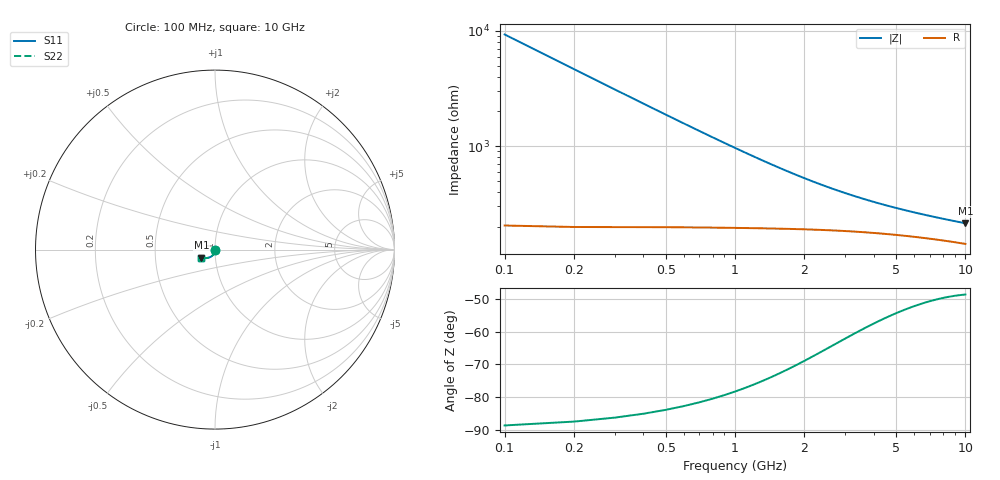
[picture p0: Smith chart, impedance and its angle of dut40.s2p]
! Touchstone file exported from HFSS 2024.1.0
!  File:  C:/UserFiles/LocalFiles/RDL_TSV_Batchsim/temp_TSV1_40_1779371023.aedt
!  Generated:  09:49:20 PM May 21, 2026
!  Design:  TSV1
!  Project:  temp_TSV1_40_1779371023
!  Setup:  Setup1
!  Solution:  Sweep
! Variables:
!  dtsv = 14.34um
!  hbump = 3um
!  htsv = 97.87um
!  lrdl = 252.1521522um
!  p = 40
!  p1 = 42.24um
!  t = 500um
!  trdl = 3um
!  wrdl = 24.89489489um
# GHz S MA R 50.000000
! Terminal data exported
! Port[1] = TSV22_T1
! Port[2] = TSV22_T2
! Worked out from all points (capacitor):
!   100 points, 100 MHz to 10 GHz, reference 50 ohm
!   read as one part in shunt: C = 171 fF near 100 MHz
!   lowest |Z| = 214 ohm at 10 GHz (marker M1)
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0.1  0.002315 -89.1  0.9998 -0.2  0.9998 -0.2  0.002315 -89.1
! Gamma 0 0 0 0
! Port Impedance 50 0 50 0
0.2  0.004631 -91.6  0.9996 -0.3  0.9996 -0.3  0.004631 -91.6
0.3  0.006947 -93.4  0.9993 -0.5  0.9993 -0.5  0.006947 -93.4
0.4  0.009252 -95.1  0.9989 -0.7  0.9989 -0.7  0.009252 -95.1
0.5  0.01154 -96.7  0.9983 -0.9  0.9983 -0.9  0.01154 -96.7
0.6  0.01379 -98.3  0.9977 -1.0  0.9977 -1.0  0.01379 -98.3
0.7  0.01602 -99.8  0.9969 -1.2  0.9969 -1.2  0.01602 -99.8
0.8  0.0182 -101.3  0.9961 -1.3  0.9961 -1.3  0.0182 -101.3
0.9  0.02034 -102.8  0.9952 -1.5  0.9952 -1.5  0.02034 -102.8
1.1  0.02449 -105.6  0.9932 -1.8  0.9932 -1.8  0.02449 -105.6
1.4  0.03032 -109.6  0.9898 -2.2  0.9898 -2.2  0.03032 -109.6
1.6  0.03394 -112.0  0.9873 -2.4  0.9873 -2.4  0.03394 -112.0
1.8  0.03734 -114.4  0.9847 -2.7  0.9847 -2.7  0.03734 -114.4
2.1  0.04203 -117.6  0.9808 -3.0  0.9808 -3.0  0.04203 -117.6
2.5  0.04757 -121.5  0.9757 -3.3  0.9757 -3.3  0.04757 -121.5
2.9  0.0524 -124.9  0.9707 -3.6  0.9707 -3.6  0.0524 -124.9
3.4  0.05757 -128.6  0.965 -4.0  0.965 -4.0  0.05757 -128.6
4.2  0.06431 -133.3  0.957 -4.4  0.957 -4.4  0.06431 -133.3
5.1  0.07024 -137.5  0.9495 -4.8  0.9495 -4.8  0.07024 -137.5
6.7  0.07801 -143.0  0.9393 -5.4  0.9393 -5.4  0.07801 -143.0
8.4  0.08386 -147.1  0.9315 -6.0  0.9315 -6.0  0.08386 -147.1
10  0.08796 -149.9  0.926 -6.6  0.926 -6.6  0.08796 -149.9
